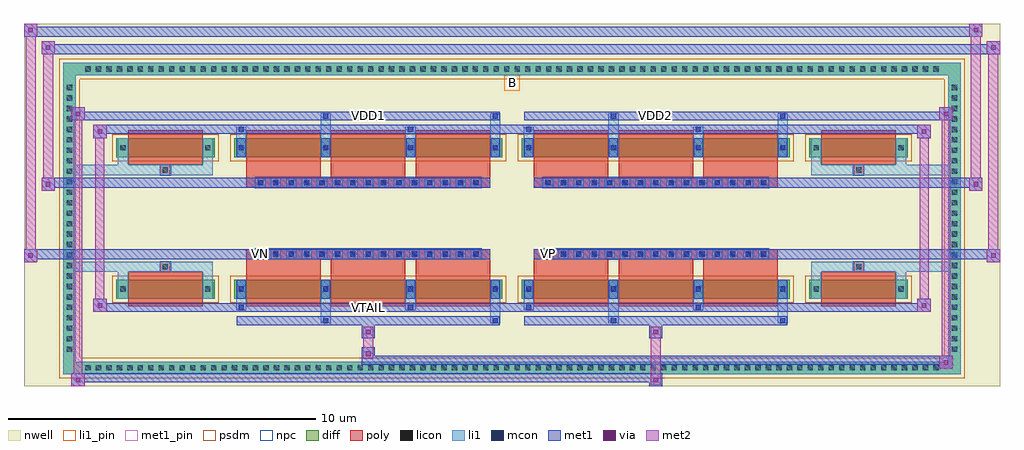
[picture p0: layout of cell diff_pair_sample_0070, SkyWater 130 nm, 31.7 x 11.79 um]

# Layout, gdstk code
import gdstk
lib = gdstk.Library(unit=1e-6, precision=5e-09)
def R(c, l, rs):  # rectangles x0, y0, x1, y1
    for r in rs: c.add(gdstk.rectangle(r[:2], r[2:], *l))
def A(c, l, x, y, w, h, nx, ny, dx, dy):  # array of equal rectangles
    R(c, l, [(x+i*dx, y+j*dy, x+i*dx+w, y+j*dy+h) for i in range(nx) for j in range(ny)])
def P(c, l, *ps):  # polygons
    for p in ps: c.add(gdstk.Polygon(p, *l))
nwell = (64, 20)
diff = (65, 20)
poly = (66, 20)
licon = (66, 44)
li1_pin = (67, 16)
li1 = (67, 20)
mcon = (67, 44)
met1_pin = (68, 16)
met1 = (68, 20)
via = (68, 44)
met2 = (69, 20)
psdm = (94, 20)
npc = (95, 20)

diff_pair_sample_0070 = lib.new_cell('diff_pair_sample_0070')
R(diff_pair_sample_0070, nwell, [(-15.85,-5.46,15.85,6.33), (-13.17,-3.65,-0.01,-0.795), (0.01,-3.65,13.17,-0.795), (-13.17,0.795,-0.01,3.65), (0.01,0.795,13.17,3.65)])
A(diff_pair_sample_0070, diff, -13.975, -5.06, 0.41, 0.41, 82, 2, 0.34, 9.71)
A(diff_pair_sample_0070, diff, -14.58, -4.455, 0.41, 0.41, 1, 26, 0, 0.34)
A(diff_pair_sample_0070, diff, 14.17, -4.455, 0.41, 0.41, 1, 26, 0, 0.34)
R(diff_pair_sample_0070, diff, [(-13.975,-5.06,13.975,-4.65), (-14.58,-4.455,-14.17,4.455), (14.17,-4.455,14.58,4.455), (-12.86,-2.605,-9.66,-1.985), (-9.02,-2.605,-0.32,-1.985), (0.32,-2.605,9.02,-1.985), (9.66,-2.605,12.86,-1.985), (-12.86,1.985,-9.66,2.605), (-9.02,1.985,-0.32,2.605), (0.32,1.985,9.02,2.605), (9.66,1.985,12.86,2.605), (-13.975,4.65,13.975,5.06)])
P(diff_pair_sample_0070, diff, [(14.58,5.06),(-14.58,5.06),(-14.58,-4.65),(-14.17,-4.65),(-14.17,4.65),(14.17,4.65),(14.17,-4.65),(-14.17,-4.65),(-14.58,-4.65),(-14.58,-5.06),(14.58,-5.06)])
A(diff_pair_sample_0070, poly, -8.63, -2.855, 2.42, 1.12, 3, 2, 2.75, 4.59)
A(diff_pair_sample_0070, poly, 0.71, -2.855, 2.42, 1.12, 3, 2, 2.75, 4.59)
A(diff_pair_sample_0070, poly, -8.63, -1.735, 2.42, 0.41, 3, 2, 2.75, 3.06)
A(diff_pair_sample_0070, poly, 0.71, -1.735, 2.42, 0.41, 3, 2, 2.75, 3.06)
A(diff_pair_sample_0070, poly, -8.335, -1.325, 0.33, 0.33, 15, 2, 0.5, 2.32)
A(diff_pair_sample_0070, poly, 1.005, -1.325, 0.33, 0.33, 15, 2, 0.5, 2.32)
R(diff_pair_sample_0070, poly, [(-12.47,-2.855,-10.05,-1.735), (10.05,-2.855,12.47,-1.735), (-11.425,-1.735,-11.095,-1.405), (-11.425,-1.735,-11.095,-1.405), (11.095,-1.735,11.425,-1.405), (11.095,-1.735,11.425,-1.405), (-8.63,-1.325,-0.71,-0.995), (0.71,-1.325,8.63,-0.995), (-8.63,0.995,-0.71,1.325), (0.71,0.995,8.63,1.325), (-11.425,1.405,-11.095,1.735), (-11.425,1.405,-11.095,1.735), (11.095,1.405,11.425,1.735), (11.095,1.405,11.425,1.735), (-12.47,1.735,-10.05,2.855), (10.05,1.735,12.47,2.855)])
A(diff_pair_sample_0070, licon, -13.855, -4.94, 0.17, 0.17, 82, 2, 0.34, 9.71)
A(diff_pair_sample_0070, licon, -14.46, -4.335, 0.17, 0.17, 1, 26, 0, 0.34)
A(diff_pair_sample_0070, licon, 14.29, -4.335, 0.17, 0.17, 1, 26, 0, 0.34)
A(diff_pair_sample_0070, licon, -8.88, -2.38, 0.17, 0.17, 4, 2, 2.75, 4.59)
A(diff_pair_sample_0070, licon, 0.46, -2.38, 0.17, 0.17, 4, 2, 2.75, 4.59)
A(diff_pair_sample_0070, licon, -8.255, -1.245, 0.17, 0.17, 15, 2, 0.5, 2.32)
A(diff_pair_sample_0070, licon, 1.085, -1.245, 0.17, 0.17, 15, 2, 0.5, 2.32)
R(diff_pair_sample_0070, licon, [(-12.72,-2.38,-12.55,-2.21), (-9.97,-2.38,-9.8,-2.21), (9.8,-2.38,9.97,-2.21), (12.55,-2.38,12.72,-2.21), (-11.345,-1.655,-11.175,-1.485), (11.175,-1.655,11.345,-1.485), (-11.345,1.485,-11.175,1.655), (11.175,1.485,11.345,1.655), (-12.72,2.21,-12.55,2.38), (-9.97,2.21,-9.8,2.38), (9.8,2.21,9.97,2.38), (12.55,2.21,12.72,2.38)])
R(diff_pair_sample_0070, li1_pin, [(-0.25,4.15,0.25,4.65)])
A(diff_pair_sample_0070, li1, -13.935, -5.02, 0.33, 0.33, 82, 2, 0.34, 9.71)
A(diff_pair_sample_0070, li1, -14.54, -4.415, 0.33, 0.33, 1, 26, 0, 0.34)
A(diff_pair_sample_0070, li1, 14.21, -4.415, 0.33, 0.33, 1, 26, 0, 0.34)
A(diff_pair_sample_0070, li1, -8.96, -2.605, 0.33, 0.62, 4, 2, 2.75, 4.59)
A(diff_pair_sample_0070, li1, 0.38, -2.605, 0.33, 0.62, 4, 2, 2.75, 4.59)
A(diff_pair_sample_0070, li1, -8.96, -2.46, 0.33, 0.33, 4, 2, 2.75, 4.59)
A(diff_pair_sample_0070, li1, 0.38, -2.46, 0.33, 0.33, 4, 2, 2.75, 4.59)
A(diff_pair_sample_0070, li1, -8.335, -1.325, 0.33, 0.33, 15, 2, 0.5, 2.32)
A(diff_pair_sample_0070, li1, 1.005, -1.325, 0.33, 0.33, 15, 2, 0.5, 2.32)
R(diff_pair_sample_0070, li1, [(-14.58,-5.06,-14.17,-4.65), (-14.58,-5.06,-14.17,-4.65), (-14.17,-5.06,14.17,-4.65), (14.17,-5.06,14.58,-4.65), (14.17,-5.06,14.58,-4.65), (-14.58,-4.65,-14.17,4.65), (14.17,-4.65,14.58,4.65), (-6.21,-3.41,-5.88,-2.605), (-6.13,-3.41,-5.96,-3.24), (-0.71,-3.41,-0.38,-2.605), (-0.63,-3.41,-0.46,-3.24), (3.13,-3.41,3.46,-2.605), (3.21,-3.41,3.38,-3.24), (8.63,-3.41,8.96,-2.605), (8.71,-3.41,8.88,-3.24), (-8.96,-2.98,-8.63,-2.605), (-8.88,-2.98,-8.71,-2.81), (-3.46,-2.98,-3.13,-2.605), (-3.38,-2.98,-3.21,-2.81), (0.38,-2.98,0.71,-2.605), (0.46,-2.98,0.63,-2.81), (5.88,-2.98,6.21,-2.605), (5.96,-2.98,6.13,-2.81), (-12.8,-2.605,-12.47,-1.985), (-10.05,-2.605,-9.72,-1.985), (9.72,-2.605,10.05,-1.985), (12.47,-2.605,12.8,-1.985), (-12.8,-2.46,-12.47,-2.13), (-10.05,-2.46,-9.72,-2.13), (9.72,-2.46,10.05,-2.13), (12.47,-2.46,12.8,-2.13), (-8.88,-2.38,-8.71,-2.21), (-8.88,-2.38,-8.71,-2.21), (-6.13,-2.38,-5.96,-2.21), (-6.13,-2.38,-5.96,-2.21), (-3.38,-2.38,-3.21,-2.21), (-3.38,-2.38,-3.21,-2.21), (-0.63,-2.38,-0.46,-2.21), (-0.63,-2.38,-0.46,-2.21), (0.46,-2.38,0.63,-2.21), (0.46,-2.38,0.63,-2.21), (3.21,-2.38,3.38,-2.21), (3.21,-2.38,3.38,-2.21), (5.96,-2.38,6.13,-2.21), (5.96,-2.38,6.13,-2.21), (8.71,-2.38,8.88,-2.21), (8.71,-2.38,8.88,-2.21), (-12.8,-1.985,-12.47,-1.405), (-10.05,-1.985,-9.72,-1.405), (9.72,-1.985,10.05,-1.405), (12.47,-1.985,12.8,-1.405), (-14.58,-1.735,-11.425,-1.405), (-12.8,-1.735,-11.425,-1.405), (-11.425,-1.735,-11.095,-1.405), (-11.095,-1.735,-9.72,-1.405), (9.72,-1.735,11.095,-1.405), (11.095,-1.735,11.425,-1.405), (11.095,-1.735,14.58,-1.405), (11.425,-1.735,12.8,-1.405), (-14.58,1.405,-11.425,1.735), (-12.8,1.405,-11.425,1.735), (-12.8,1.405,-12.47,1.985), (-11.425,1.405,-11.095,1.735), (-11.095,1.405,-9.72,1.735), (-10.05,1.405,-9.72,1.985), (9.72,1.405,11.095,1.735), (9.72,1.405,10.05,1.985), (11.095,1.405,11.425,1.735), (11.095,1.405,14.58,1.735), (11.425,1.405,12.8,1.735), (12.47,1.405,12.8,1.985), (-12.8,1.985,-12.47,2.605), (-10.05,1.985,-9.72,2.605), (9.72,1.985,10.05,2.605), (12.47,1.985,12.8,2.605), (-12.8,2.13,-12.47,2.46), (-10.05,2.13,-9.72,2.46), (9.72,2.13,10.05,2.46), (12.47,2.13,12.8,2.46), (-8.88,2.21,-8.71,2.38), (-8.88,2.21,-8.71,2.38), (-6.13,2.21,-5.96,2.38), (-6.13,2.21,-5.96,2.38), (-3.38,2.21,-3.21,2.38), (-3.38,2.21,-3.21,2.38), (-0.63,2.21,-0.46,2.38), (-0.63,2.21,-0.46,2.38), (0.46,2.21,0.63,2.38), (0.46,2.21,0.63,2.38), (3.21,2.21,3.38,2.38), (3.21,2.21,3.38,2.38), (5.96,2.21,6.13,2.38), (5.96,2.21,6.13,2.38), (8.71,2.21,8.88,2.38), (8.71,2.21,8.88,2.38), (-8.96,2.605,-8.63,2.98), (-6.21,2.605,-5.88,3.41), (-3.46,2.605,-3.13,2.98), (-0.71,2.605,-0.38,3.41), (0.38,2.605,0.71,2.98), (3.13,2.605,3.46,3.41), (5.88,2.605,6.21,2.98), (8.63,2.605,8.96,3.41), (-8.88,2.81,-8.71,2.98), (-3.38,2.81,-3.21,2.98), (0.46,2.81,0.63,2.98), (5.96,2.81,6.13,2.98), (-6.13,3.24,-5.96,3.41), (-0.63,3.24,-0.46,3.41), (3.21,3.24,3.38,3.41), (8.71,3.24,8.88,3.41), (-14.58,4.65,-14.17,5.06), (-14.58,4.65,-14.17,5.06), (-14.17,4.65,14.17,5.06), (14.17,4.65,14.58,5.06), (14.17,4.65,14.58,5.06)])
A(diff_pair_sample_0070, mcon, -8.88, -2.38, 0.17, 0.17, 4, 2, 2.75, 4.59)
A(diff_pair_sample_0070, mcon, 0.46, -2.38, 0.17, 0.17, 4, 2, 2.75, 4.59)
A(diff_pair_sample_0070, mcon, -8.255, -1.245, 0.17, 0.17, 15, 2, 0.5, 2.32)
A(diff_pair_sample_0070, mcon, 1.085, -1.245, 0.17, 0.17, 15, 2, 0.5, 2.32)
R(diff_pair_sample_0070, mcon, [(-6.13,-3.41,-5.96,-3.24), (-0.63,-3.41,-0.46,-3.24), (3.21,-3.41,3.38,-3.24), (8.71,-3.41,8.88,-3.24), (-8.88,-2.98,-8.71,-2.81), (-3.38,-2.98,-3.21,-2.81), (0.46,-2.98,0.63,-2.81), (5.96,-2.98,6.13,-2.81), (-8.88,2.81,-8.71,2.98), (-3.38,2.81,-3.21,2.98), (0.46,2.81,0.63,2.98), (5.96,2.81,6.13,2.98), (-6.13,3.24,-5.96,3.41), (-0.63,3.24,-0.46,3.41), (3.21,3.24,3.38,3.41), (8.71,3.24,8.88,3.41)])
R(diff_pair_sample_0070, met1_pin, [(-4.805,-3.02,-4.535,-2.75), (-8.305,-1.285,-8.035,-1.015), (1.035,-1.285,1.305,-1.015), (-4.805,3.2,-4.535,3.47), (4.535,3.2,4.805,3.47)])
A(diff_pair_sample_0070, met1, -8.94, -2.605, 0.29, 0.62, 4, 2, 2.75, 4.59)
A(diff_pair_sample_0070, met1, 0.4, -2.605, 0.29, 0.62, 4, 2, 2.75, 4.59)
A(diff_pair_sample_0070, met1, -8.94, -2.44, 0.29, 0.29, 4, 2, 2.75, 4.59)
A(diff_pair_sample_0070, met1, 0.4, -2.44, 0.29, 0.29, 4, 2, 2.75, 4.59)
A(diff_pair_sample_0070, met1, -8.315, -1.305, 0.29, 0.29, 15, 2, 0.5, 2.32)
A(diff_pair_sample_0070, met1, 1.025, -1.305, 0.29, 0.29, 15, 2, 0.5, 2.32)
R(diff_pair_sample_0070, met1, [(-14.31,-5.46,-13.88,-5.03), (4.455,-5.46,4.885,-5.03), (-14.31,-5.32,4.885,-5.03), (13.88,-4.89,14.31,-4.46), (-4.885,-4.75,14.31,-4.46), (-4.885,-4.61,-4.455,-4.18), (-4.885,-3.9,-4.455,-3.47), (4.455,-3.9,4.885,-3.47), (-8.94,-3.47,-0.4,-3.18), (-6.19,-3.47,-5.9,-3.18), (-0.69,-3.47,-0.4,-3.18), (0.4,-3.47,8.94,-3.18), (3.15,-3.47,3.44,-3.18), (8.65,-3.47,8.94,-3.18), (-13.6,-3.04,-13.17,-2.61), (-13.6,-3.04,-8.94,-2.75), (-8.94,-3.04,-8.65,-2.75), (-8.94,-3.04,-0.4,-2.75), (-3.44,-3.04,-3.15,-2.75), (-0.4,-3.04,0.4,-2.75), (0.4,-3.04,0.69,-2.75), (0.4,-3.04,8.94,-2.75), (5.9,-3.04,6.19,-2.75), (8.94,-3.04,13.6,-2.75), (13.17,-3.04,13.6,-2.61), (-15.85,-1.425,-15.42,-0.995), (15.42,-1.425,15.85,-0.995), (-15.85,-1.325,-0.71,-0.995), (-8.63,-1.325,-0.71,-0.995), (0.71,-1.325,8.63,-0.995), (0.71,-1.325,15.85,-0.995), (-15.28,0.895,-14.85,1.325), (14.85,0.895,15.28,1.325), (-15.28,0.995,-8.63,1.325), (-8.63,0.995,-0.71,1.325), (0.71,0.995,8.63,1.325), (8.63,0.995,15.28,1.325), (-13.6,2.61,-13.17,3.04), (13.17,2.61,13.6,3.04), (-13.6,2.75,-8.94,3.04), (-8.94,2.75,-8.65,3.04), (-8.94,2.75,-0.4,3.04), (-3.44,2.75,-3.15,3.04), (-0.4,2.75,0.4,3.04), (0.4,2.75,0.69,3.04), (0.4,2.75,8.94,3.04), (5.9,2.75,6.19,3.04), (8.94,2.75,13.6,3.04), (-14.31,3.18,-13.88,3.61), (-14.31,3.18,-8.94,3.47), (-8.94,3.18,-0.4,3.47), (-6.19,3.18,-5.9,3.47), (-0.69,3.18,-0.4,3.47), (0.4,3.18,8.94,3.47), (3.15,3.18,3.44,3.47), (8.65,3.18,8.94,3.47), (8.94,3.18,14.31,3.47), (13.88,3.18,14.31,3.61), (-15.28,5.33,-14.85,5.76), (-15.28,5.33,-13.17,5.66), (-13.17,5.33,13.17,5.66), (13.17,5.33,15.85,5.66), (15.42,5.33,15.85,5.76), (-15.85,5.9,-15.42,6.33), (-15.85,5.9,-13.17,6.23), (-13.17,5.9,13.17,6.23), (13.17,5.9,15.28,6.23), (14.85,5.9,15.28,6.33)])
R(diff_pair_sample_0070, via, [(-14.17,-5.32,-14.02,-5.17), (4.595,-5.32,4.745,-5.17), (14.02,-4.75,14.17,-4.6), (-4.745,-4.47,-4.595,-4.32), (-4.745,-3.76,-4.595,-3.61), (4.595,-3.76,4.745,-3.61), (-13.46,-2.9,-13.31,-2.75), (13.31,-2.9,13.46,-2.75), (-15.71,-1.285,-15.56,-1.135), (15.56,-1.285,15.71,-1.135), (-15.14,1.035,-14.99,1.185), (14.99,1.035,15.14,1.185), (-13.46,2.75,-13.31,2.9), (13.31,2.75,13.46,2.9), (-14.17,3.32,-14.02,3.47), (14.02,3.32,14.17,3.47), (-15.14,5.47,-14.99,5.62), (15.56,5.47,15.71,5.62), (-15.71,6.04,-15.56,6.19), (14.99,6.04,15.14,6.19)])
R(diff_pair_sample_0070, met2, [(-14.31,-5.46,-13.88,-5.03), (-14.24,-5.46,-13.95,3.61), (-13.95,-5.46,-13.88,-5.03), (-14.26,-5.41,-13.93,-5.08), (4.505,-5.41,4.835,-5.08), (4.505,-5.08,4.835,-3.85), (13.88,-4.89,14.31,-4.46), (13.95,-4.89,14.24,3.61), (14.24,-4.89,14.31,-4.46), (13.93,-4.84,14.26,-4.51), (-4.835,-4.56,-4.505,-4.23), (-4.835,-4.23,-4.505,-3.85), (-4.835,-3.85,-4.505,-3.52), (4.505,-3.85,4.835,-3.52), (-13.6,-3.04,-13.17,-2.61), (-13.53,-3.04,-13.24,3.04), (-13.24,-3.04,-13.17,-2.61), (13.17,-3.04,13.6,-2.61), (13.24,-3.04,13.53,3.04), (13.53,-3.04,13.6,-2.61), (-13.55,-2.99,-13.22,-2.66), (13.22,-2.99,13.55,-2.66), (-15.85,-1.425,-15.42,-0.995), (-15.8,-1.425,-15.47,6.33), (-15.47,-1.425,-15.42,-0.995), (15.42,-1.425,15.85,-0.995), (15.47,-1.425,15.8,5.76), (15.8,-1.425,15.85,-0.995), (-15.8,-1.375,-15.47,-1.045), (15.47,-1.375,15.8,-1.045), (-15.28,0.895,-14.85,1.325), (-15.23,0.895,-14.9,5.76), (-14.9,0.895,-14.85,1.325), (14.85,0.895,15.28,1.325), (14.9,0.895,15.23,6.33), (15.23,0.895,15.28,1.325), (-15.23,0.945,-14.9,1.275), (14.9,0.945,15.23,1.275), (-13.6,2.61,-13.17,3.04), (-13.24,2.61,-13.17,3.04), (13.17,2.61,13.6,3.04), (13.53,2.61,13.6,3.04), (-13.55,2.66,-13.22,2.99), (13.22,2.66,13.55,2.99), (-14.31,3.18,-13.88,3.61), (-13.95,3.18,-13.88,3.61), (13.88,3.18,14.31,3.61), (14.24,3.18,14.31,3.61), (-14.26,3.23,-13.93,3.56), (13.93,3.23,14.26,3.56), (-15.28,5.33,-14.85,5.76), (-14.9,5.33,-14.85,5.76), (15.42,5.33,15.85,5.76), (15.8,5.33,15.85,5.76), (-15.23,5.38,-14.9,5.71), (15.47,5.38,15.8,5.71), (-15.85,5.9,-15.42,6.33), (-15.47,5.9,-15.42,6.33), (14.85,5.9,15.28,6.33), (15.23,5.9,15.28,6.33), (-15.8,5.95,-15.47,6.28), (14.9,5.95,15.23,6.28)])
R(diff_pair_sample_0070, psdm, [(-12.99,-2.735,-9.53,-1.855), (-9.15,-2.735,-0.19,-1.855), (0.19,-2.735,9.15,-1.855), (9.53,-2.735,12.99,-1.855), (-12.99,1.855,-9.53,2.735), (-9.15,1.855,-0.19,2.735), (0.19,1.855,9.15,2.735), (9.53,1.855,12.99,2.735)])
P(diff_pair_sample_0070, psdm, [(14.71,5.19),(-14.71,5.19),(-14.71,-4.52),(-14.04,-4.52),(-14.04,4.52),(14.04,4.52),(14.04,-4.52),(-14.04,-4.52),(-14.71,-4.52),(-14.71,-5.19),(14.71,-5.19)])
A(diff_pair_sample_0070, npc, -8.355, -1.345, 0.37, 0.37, 15, 2, 0.5, 2.32)
A(diff_pair_sample_0070, npc, 0.985, -1.345, 0.37, 0.37, 15, 2, 0.5, 2.32)
R(diff_pair_sample_0070, npc, [(-11.445,-1.755,-11.075,-1.385), (11.075,-1.755,11.445,-1.385), (-8.355,-1.345,-7.485,-0.975), (-8.355,-1.345,-7.485,-0.975), (-7.855,-1.345,-6.985,-0.975), (-7.855,-1.345,-6.985,-0.975), (-7.355,-1.345,-6.485,-0.975), (-7.355,-1.345,-6.485,-0.975), (-6.855,-1.345,-5.985,-0.975), (-6.855,-1.345,-5.985,-0.975), (-6.355,-1.345,-5.485,-0.975), (-6.355,-1.345,-5.485,-0.975), (-5.855,-1.345,-4.985,-0.975), (-5.855,-1.345,-4.985,-0.975), (-5.355,-1.345,-4.485,-0.975), (-5.355,-1.345,-4.485,-0.975), (-4.855,-1.345,-3.985,-0.975), (-4.855,-1.345,-3.985,-0.975), (-4.355,-1.345,-3.485,-0.975), (-4.355,-1.345,-3.485,-0.975), (-3.855,-1.345,-2.985,-0.975), (-3.855,-1.345,-2.985,-0.975), (-3.355,-1.345,-2.485,-0.975), (-3.355,-1.345,-2.485,-0.975), (-2.855,-1.345,-1.985,-0.975), (-2.855,-1.345,-1.985,-0.975), (-2.355,-1.345,-1.485,-0.975), (-2.355,-1.345,-1.485,-0.975), (-1.855,-1.345,-0.985,-0.975), (-1.855,-1.345,-0.985,-0.975), (0.985,-1.345,1.855,-0.975), (0.985,-1.345,1.855,-0.975), (1.485,-1.345,2.355,-0.975), (1.485,-1.345,2.355,-0.975), (1.985,-1.345,2.855,-0.975), (1.985,-1.345,2.855,-0.975), (2.485,-1.345,3.355,-0.975), (2.485,-1.345,3.355,-0.975), (2.985,-1.345,3.855,-0.975), (2.985,-1.345,3.855,-0.975), (3.485,-1.345,4.355,-0.975), (3.485,-1.345,4.355,-0.975), (3.985,-1.345,4.855,-0.975), (3.985,-1.345,4.855,-0.975), (4.485,-1.345,5.355,-0.975), (4.485,-1.345,5.355,-0.975), (4.985,-1.345,5.855,-0.975), (4.985,-1.345,5.855,-0.975), (5.485,-1.345,6.355,-0.975), (5.485,-1.345,6.355,-0.975), (5.985,-1.345,6.855,-0.975), (5.985,-1.345,6.855,-0.975), (6.485,-1.345,7.355,-0.975), (6.485,-1.345,7.355,-0.975), (6.985,-1.345,7.855,-0.975), (6.985,-1.345,7.855,-0.975), (7.485,-1.345,8.355,-0.975), (7.485,-1.345,8.355,-0.975), (-8.355,0.975,-7.485,1.345), (-8.355,0.975,-7.485,1.345), (-7.855,0.975,-6.985,1.345), (-7.855,0.975,-6.985,1.345), (-7.355,0.975,-6.485,1.345), (-7.355,0.975,-6.485,1.345), (-6.855,0.975,-5.985,1.345), (-6.855,0.975,-5.985,1.345), (-6.355,0.975,-5.485,1.345), (-6.355,0.975,-5.485,1.345), (-5.855,0.975,-4.985,1.345), (-5.855,0.975,-4.985,1.345), (-5.355,0.975,-4.485,1.345), (-5.355,0.975,-4.485,1.345), (-4.855,0.975,-3.985,1.345), (-4.855,0.975,-3.985,1.345), (-4.355,0.975,-3.485,1.345), (-4.355,0.975,-3.485,1.345), (-3.855,0.975,-2.985,1.345), (-3.855,0.975,-2.985,1.345), (-3.355,0.975,-2.485,1.345), (-3.355,0.975,-2.485,1.345), (-2.855,0.975,-1.985,1.345), (-2.855,0.975,-1.985,1.345), (-2.355,0.975,-1.485,1.345), (-2.355,0.975,-1.485,1.345), (-1.855,0.975,-0.985,1.345), (-1.855,0.975,-0.985,1.345), (0.985,0.975,1.855,1.345), (0.985,0.975,1.855,1.345), (1.485,0.975,2.355,1.345), (1.485,0.975,2.355,1.345), (1.985,0.975,2.855,1.345), (1.985,0.975,2.855,1.345), (2.485,0.975,3.355,1.345), (2.485,0.975,3.355,1.345), (2.985,0.975,3.855,1.345), (2.985,0.975,3.855,1.345), (3.485,0.975,4.355,1.345), (3.485,0.975,4.355,1.345), (3.985,0.975,4.855,1.345), (3.985,0.975,4.855,1.345), (4.485,0.975,5.355,1.345), (4.485,0.975,5.355,1.345), (4.985,0.975,5.855,1.345), (4.985,0.975,5.855,1.345), (5.485,0.975,6.355,1.345), (5.485,0.975,6.355,1.345), (5.985,0.975,6.855,1.345), (5.985,0.975,6.855,1.345), (6.485,0.975,7.355,1.345), (6.485,0.975,7.355,1.345), (6.985,0.975,7.855,1.345), (6.985,0.975,7.855,1.345), (7.485,0.975,8.355,1.345), (7.485,0.975,8.355,1.345), (-11.445,1.385,-11.075,1.755), (11.075,1.385,11.445,1.755)])
diff_pair_sample_0070.add(gdstk.Label('VTAIL', (-4.67,-2.885), layer=68, texttype=5))
diff_pair_sample_0070.add(gdstk.Label('VN', (-8.17,-1.15), layer=68, texttype=5))
diff_pair_sample_0070.add(gdstk.Label('VP', (1.17,-1.15), layer=68, texttype=5))
diff_pair_sample_0070.add(gdstk.Label('B', (0,4.4), layer=67, texttype=5))
diff_pair_sample_0070.add(gdstk.Label('VDD2', (4.67,3.335), layer=68, texttype=5))
diff_pair_sample_0070.add(gdstk.Label('VDD1', (-4.67,3.335), layer=68, texttype=5))

lib.write_gds('diff_pair_sample_0070.gds')
